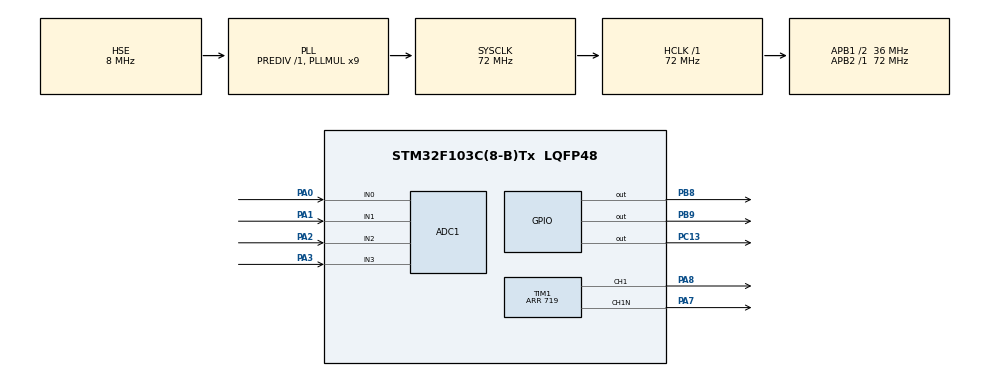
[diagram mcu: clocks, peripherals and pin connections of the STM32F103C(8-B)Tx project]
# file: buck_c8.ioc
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ADC1.Channel-0\#ChannelRegularConversion=ADC_CHANNEL_0
ADC1.Channel-1\#ChannelRegularConversion=ADC_CHANNEL_1
ADC1.Channel-2\#ChannelRegularConversion=ADC_CHANNEL_2
ADC1.Channel-3\#ChannelRegularConversion=ADC_CHANNEL_3
ADC1.DataAlign=ADC_DATAALIGN_RIGHT
ADC1.ExternalTrigConv=ADC_SOFTWARE_START
ADC1.NbrOfConversion=4
ADC1.NbrOfConversionFlag=1
ADC1.Rank-0\#ChannelRegularConversion=1
ADC1.Rank-1\#ChannelRegularConversion=2
ADC1.Rank-2\#ChannelRegularConversion=3
ADC1.Rank-3\#ChannelRegularConversion=4
ADC1.SamplingTime-0\#ChannelRegularConversion=ADC_SAMPLETIME_13CYCLES_5
ADC1.SamplingTime-1\#ChannelRegularConversion=ADC_SAMPLETIME_13CYCLES_5
ADC1.SamplingTime-2\#ChannelRegularConversion=ADC_SAMPLETIME_13CYCLES_5
ADC1.SamplingTime-3\#ChannelRegularConversion=ADC_SAMPLETIME_13CYCLES_5
ADC1.master=1
Mcu.Family=STM32F1
Mcu.Name=STM32F103C(8-B)Tx
Mcu.Package=LQFP48
NVIC.PriorityGroup=NVIC_PRIORITYGROUP_4
PA0-WKUP.Signal=ADCx_IN0
PA1.Signal=ADCx_IN1
PA13.Mode=Serial_Wire
PA13.Signal=SYS_JTMS-SWDIO
PA14.Mode=Serial_Wire
PA14.Signal=SYS_JTCK-SWCLK
PA2.Signal=ADCx_IN2
PA3.Signal=ADCx_IN3
PA7.Mode=PWM Generation1 CH1 CH1N
PA7.Signal=TIM1_CH1N
PA8.Signal=S_TIM1_CH1
PB8.GPIO_ModeDefaultOutputPP=GPIO_MODE_OUTPUT_OD
PB8.GPIO_PuPd=GPIO_NOPULL
PB8.GPIO_Speed=GPIO_SPEED_FREQ_HIGH
PB8.PinState=GPIO_PIN_SET
PB8.Signal=GPIO_Output
PB9.GPIO_ModeDefaultOutputPP=GPIO_MODE_OUTPUT_OD
PB9.GPIO_PuPd=GPIO_NOPULL
PB9.GPIO_Speed=GPIO_SPEED_FREQ_HIGH
PB9.PinState=GPIO_PIN_SET
PB9.Signal=GPIO_Output
PC13-TAMPER-RTC.Signal=GPIO_Output
PD0-OSC_IN.Mode=HSE-External-Oscillator
PD0-OSC_IN.Signal=RCC_OSC_IN
PD1-OSC_OUT.Mode=HSE-External-Oscillator
PD1-OSC_OUT.Signal=RCC_OSC_OUT
ProjectManager.HeapSize=0x200
ProjectManager.StackSize=0x400
ProjectManager.TargetToolchain=MDK-ARM V5.32
RCC.ADCPresc=RCC_ADCPCLK2_DIV6
RCC.AHBFreq_Value=72000000
RCC.APB1CLKDivider=RCC_HCLK_DIV2
RCC.APB1Freq_Value=36000000
RCC.APB1TimFreq_Value=72000000
RCC.APB2Freq_Value=72000000
RCC.APB2TimFreq_Value=72000000
RCC.HCLKFreq_Value=72000000
RCC.PLLMUL=RCC_PLL_MUL9
RCC.PLLSourceVirtual=RCC_PLLSOURCE_HSE
RCC.SYSCLKFreq_VALUE=72000000
RCC.SYSCLKSource=RCC_SYSCLKSOURCE_PLLCLK
RCC.USBFreq_Value=72000000
SH.ADCx_IN0.0=ADC1_IN0,IN0
SH.ADCx_IN1.0=ADC1_IN1,IN1
SH.ADCx_IN2.0=ADC1_IN2,IN2
SH.ADCx_IN3.0=ADC1_IN3,IN3
SH.S_TIM1_CH1.0=TIM1_CH1,PWM Generation1 CH1 CH1N
TIM1.AutoReloadPreload=TIM_AUTORELOAD_PRELOAD_ENABLE
TIM1.Channel-PWM\ Generation1\ CH1\ CH1N=TIM_CHANNEL_1
TIM1.DeadTime=30
TIM1.Period=719
TIM1.Pulse-PWM\ Generation1\ CH1\ CH1N=288
VP_TIM1_VS_ClockSourceINT.Mode=Internal
board=custom

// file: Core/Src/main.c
/* USER CODE BEGIN Header */
/**
  ******************************************************************************
  * @file           : main.c
  * @brief          : Main program body
  ******************************************************************************
  * @attention
  *
  * Copyright (c) 2026 STMicroelectronics.
  * All rights reserved.
  *
  * This software is licensed under terms that can be found in the LICENSE file
  * in the root directory of this software component.
  * If no LICENSE file comes with this software, it is provided AS-IS.
  *
  ******************************************************************************
  */
/* USER CODE END Header */
#include "main.h"
#include "adc.h"
#include "tim.h"
#include "gpio.h"

/* USER CODE BEGIN Includes */
#include "oled.h"
/* USER CODE END Includes */

/* USER CODE BEGIN PD */
#define ADC_FULL_SCALE          4095.0f
#define ADC_REFERENCE_VOLTAGE   3.3f
#define VOLTAGE_DIVIDER_RATIO   30.0f

#define VOUT_TARGET_V           12.0f
#define VOUT_OVERVOLTAGE_V      13.5f

#define PWM_PERIOD_COUNTS       720.0f
#define DUTY_MIN                0.00f
#define DUTY_MAX                0.60f
#define DUTY_START              0.00f

/* The voltage loop runs at 1 kHz. Tune these values on the real hardware. */
#define VOLTAGE_KP              0.015f
#define VOLTAGE_KI              0.40f
#define CONTROL_PERIOD_S        0.001f
#define SOFT_START_STEP_V       0.024f
/* USER CODE END PD */

/* USER CODE BEGIN PV */
static uint16_t adc_raw[4];
static float vin_measured;
static float vout_measured;
static float vout_reference;
static float voltage_integrator;
static float duty_command = DUTY_START;
static uint8_t buck_fault;
/* USER CODE END PV */

void SystemClock_Config(void);
/* USER CODE BEGIN PFP */
static uint8_t ADC_ReadSequence(uint16_t *result);
static void Buck_SetDuty(float duty);
static void Buck_Stop(void);
static void Buck_VoltageControl(void);
static void OLED_UpdateStatus(void);
/* USER CODE END PFP */

/* USER CODE BEGIN 0 */
static float Clamp(float value, float lower, float upper)
{
  if (value < lower)
  {
    return lower;
  }
  if (value > upper)
  {
    return upper;
  }
  return value;
}

static uint8_t ADC_ReadSequence(uint16_t *result)
{
  uint8_t index;

  if (HAL_ADC_Start(&hadc1) != HAL_OK)
  {
    return 0U;
  }

  for (index = 0U; index < 4U; index++)
  {
    if (HAL_ADC_PollForConversion(&hadc1, 1U) != HAL_OK)
    {
      (void)HAL_ADC_Stop(&hadc1);
      return 0U;
    }
    result[index] = (uint16_t)HAL_ADC_GetValue(&hadc1);
  }

  (void)HAL_ADC_Stop(&hadc1);
  return 1U;
}

static void Buck_SetDuty(float duty)
{
  uint32_t compare;

  duty = Clamp(duty, DUTY_MIN, DUTY_MAX);
  compare = (uint32_t)(duty * PWM_PERIOD_COUNTS + 0.5f);
  __HAL_TIM_SET_COMPARE(&htim1, TIM_CHANNEL_1, compare);
}

static void Buck_Stop(void)
{
  (void)HAL_TIM_PWM_Stop(&htim1, TIM_CHANNEL_1);
  (void)HAL_TIMEx_PWMN_Stop(&htim1, TIM_CHANNEL_1);
}

static void Buck_VoltageControl(void)
{
  float error;
  float duty_feedforward;

  if (ADC_ReadSequence(adc_raw) == 0U)
  {
    buck_fault = 1U;
    Buck_Stop();
    return;
  }

  /* PA0 and PA1 are PADOUT1 and PADOUT2, each divided by about 30. */
  vin_measured = ((float)adc_raw[0] * ADC_REFERENCE_VOLTAGE /
                  ADC_FULL_SCALE) * VOLTAGE_DIVIDER_RATIO;
  vout_measured = ((float)adc_raw[1] * ADC_REFERENCE_VOLTAGE /
                   ADC_FULL_SCALE) * VOLTAGE_DIVIDER_RATIO;

  if (vout_measured > VOUT_OVERVOLTAGE_V)
  {
    buck_fault = 1U;
    Buck_Stop();
    return;
  }

  if (vout_reference < VOUT_TARGET_V)
  {
    vout_reference += SOFT_START_STEP_V;
    if (vout_reference > VOUT_TARGET_V)
    {
      vout_reference = VOUT_TARGET_V;
    }
  }

  if (vin_measured < 1.0f)
  {
    buck_fault = 1U;
    Buck_Stop();
    return;
  }

  error = vout_reference - vout_measured;
  voltage_integrator += VOLTAGE_KI * error * CONTROL_PERIOD_S;
  voltage_integrator = Clamp(voltage_integrator, -0.20f, 0.20f);

  duty_feedforward = vout_reference / vin_measured;
  duty_command = duty_feedforward + VOLTAGE_KP * error + voltage_integrator;
  duty_command = Clamp(duty_command, DUTY_MIN, DUTY_MAX);
  Buck_SetDuty(duty_command);
}

static void OLED_UpdateStatus(void)
{
  OLED_ShowString(0, 0, (uint8_t *)"VIN:", 16);
  OLED_ShowFolatNum(40, 0, vin_measured, 4, 16);
  OLED_ShowString(80, 0, (uint8_t *)"V", 16);
  OLED_ShowString(0, 2, (uint8_t *)"VOUT:", 16);
  OLED_ShowFolatNum(48, 2, vout_measured, 4, 16);
  OLED_ShowString(88, 2, (uint8_t *)"V", 16);
  OLED_ShowString(0, 4, (uint8_t *)"DUTY:", 16);
  OLED_ShowFolatNum(48, 4, duty_command * 100.0f, 4, 16);
  OLED_ShowString(88, 4, (uint8_t *)"%", 16);
  OLED_ShowString(0, 6, (uint8_t *)(buck_fault ? "FAULT" : "VLOOP"), 16);
}
/* USER CODE END 0 */

int main(void)
{

  /* MCU Configuration--------------------------------------------------------*/

  /* Reset of all peripherals, Initializes the Flash interface and the Systick. */
  HAL_Init();

  /* Configure the system clock */
  SystemClock_Config();

  /* Initialize all configured peripherals */
  MX_GPIO_Init();
  MX_TIM1_Init();
  MX_ADC1_Init();
  /* USER CODE BEGIN 2 */
	OLED_Init();

	if (HAL_TIM_PWM_Start(&htim1, TIM_CHANNEL_1) != HAL_OK)
	{
	  Error_Handler();
	}
	if (HAL_TIMEx_PWMN_Start(&htim1, TIM_CHANNEL_1) != HAL_OK)
	{
	  Error_Handler();
	}
	Buck_SetDuty(DUTY_START);
	OLED_Clear(0x00);
	OLED_UpdateStatus();
  /* USER CODE END 2 */

  /* Infinite loop */
  while (1)
  {

    /* USER CODE BEGIN 3 */
    static uint32_t control_tick;
    static uint32_t oled_tick;
    uint32_t now = HAL_GetTick();

    if ((now - control_tick) >= 1U)
    {
      control_tick = now;
      if (buck_fault == 0U)
      {
        Buck_VoltageControl();
      }
    }

    if ((now - oled_tick) >= 200U)
    {
      oled_tick = now;
      OLED_UpdateStatus();
    }
  }
  /* USER CODE END 3 */
}

void SystemClock_Config(void)
{
  RCC_OscInitTypeDef RCC_OscInitStruct = {0};
  RCC_ClkInitTypeDef RCC_ClkInitStruct = {0};
  RCC_PeriphCLKInitTypeDef PeriphClkInit = {0};

  /** Initializes the RCC Oscillators according to the specified parameters
  * in the RCC_OscInitTypeDef structure.
  */
  RCC_OscInitStruct.OscillatorType = RCC_OSCILLATORTYPE_HSE;
  RCC_OscInitStruct.HSEState = RCC_HSE_ON;
  RCC_OscInitStruct.HSEPredivValue = RCC_HSE_PREDIV_DIV1;
  RCC_OscInitStruct.HSIState = RCC_HSI_ON;
  RCC_OscInitStruct.PLL.PLLState = RCC_PLL_ON;
  RCC_OscInitStruct.PLL.PLLSource = RCC_PLLSOURCE_HSE;
  RCC_OscInitStruct.PLL.PLLMUL = RCC_PLL_MUL9;
  if (HAL_RCC_OscConfig(&RCC_OscInitStruct) != HAL_OK)
  {
    Error_Handler();
  }

  /** Initializes the CPU, AHB and APB buses clocks
  */
  RCC_ClkInitStruct.ClockType = RCC_CLOCKTYPE_HCLK|RCC_CLOCKTYPE_SYSCLK
                              |RCC_CLOCKTYPE_PCLK1|RCC_CLOCKTYPE_PCLK2;
  RCC_ClkInitStruct.SYSCLKSource = RCC_SYSCLKSOURCE_PLLCLK;
  RCC_ClkInitStruct.AHBCLKDivider = RCC_SYSCLK_DIV1;
  RCC_ClkInitStruct.APB1CLKDivider = RCC_HCLK_DIV2;
  RCC_ClkInitStruct.APB2CLKDivider = RCC_HCLK_DIV1;

  if (HAL_RCC_ClockConfig(&RCC_ClkInitStruct, FLASH_LATENCY_2) != HAL_OK)
  {
    Error_Handler();
  }
  PeriphClkInit.PeriphClockSelection = RCC_PERIPHCLK_ADC;
  PeriphClkInit.AdcClockSelection = RCC_ADCPCLK2_DIV6;
  if (HAL_RCCEx_PeriphCLKConfig(&PeriphClkInit) != HAL_OK)
  {
    Error_Handler();
  }
}

void Error_Handler(void)
{
  __disable_irq();
  while (1)
  {
  }
}
